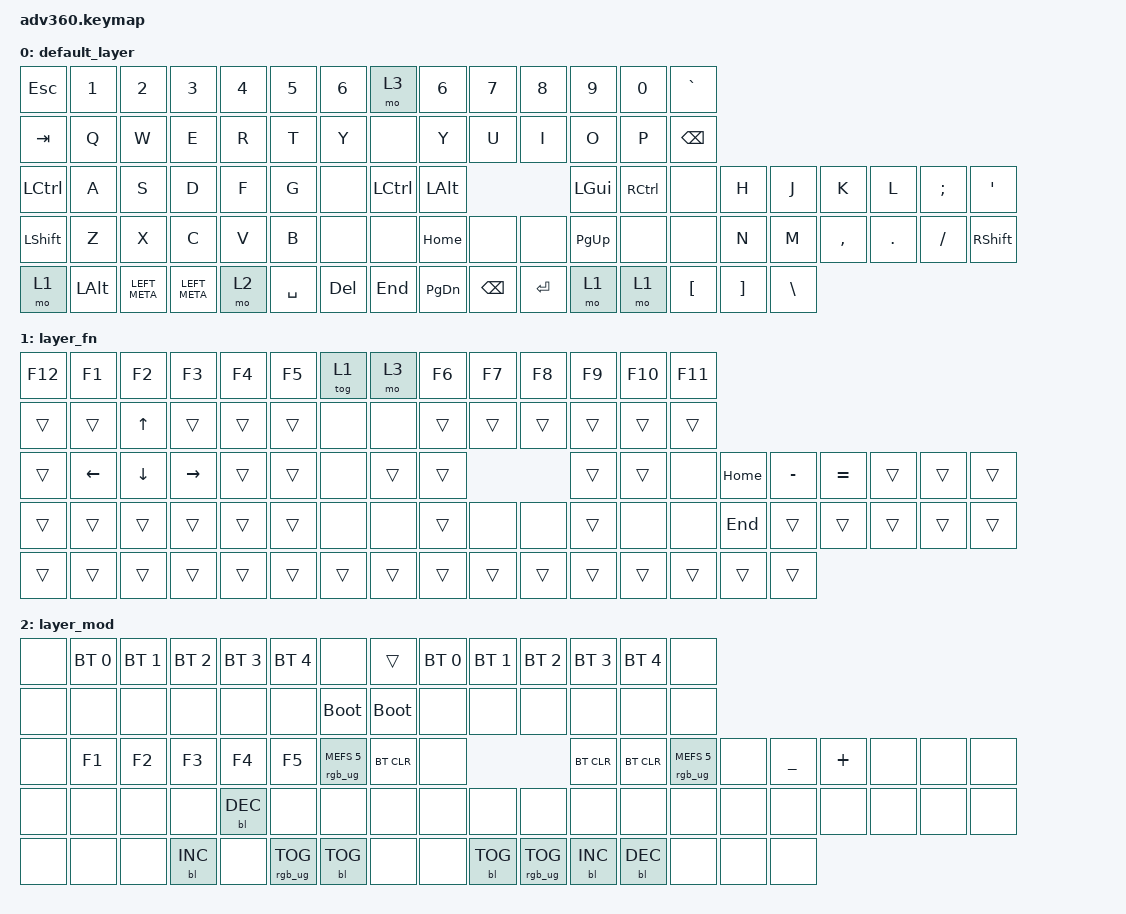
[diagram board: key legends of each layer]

/*
 * Copyright (c) 2020 The ZMK Contributors
 *
 * SPDX-License-Identifier: MIT
 */


/* THIS FILE WAS GENERATED!
 *
 * This file was generated automatically. You may or may not want to
 * edit it directly.
 */

#include <behaviors.dtsi>
#include <dt-bindings/zmk/keys.h>
#include <dt-bindings/zmk/bt.h>
#include <dt-bindings/zmk/rgb.h>
#include <dt-bindings/zmk/backlight.h>

/ {
  behaviors {
    #include "macros.dtsi"

    hm: homerow_mods {
        compatible = "zmk,behavior-hold-tap";
        label = "HOMEROW_MODS";
        #binding-cells = <2>;
        tapping-term-ms = <200>;
        quick_tap_ms = <175>;
        flavor = "tap-preferred";
        bindings = <&kp>, <&kp>;
    };
  };

    keymap {
        compatible = "zmk,keymap";


        default_layer {
            bindings = <
 &kp ESCAPE        &kp N1         &kp N2         &kp N3  &kp N4     &kp N5             &kp N6      &mo 3     &kp N6         &kp N7     &kp N8     &kp N9     &kp N0      &kp GRAVE
    &kp TAB         &kp Q          &kp W          &kp E   &kp R      &kp T              &kp Y      &none      &kp Y          &kp U      &kp I      &kp O      &kp P  &kp BACKSPACE
  &kp LCTRL         &kp A          &kp S          &kp D   &kp F      &kp G              &none  &kp LCTRL   &kp LALT                             &kp LGUI  &kp RCTRL          &none     &kp H          &kp J      &kp K    &kp L  &kp SEMI    &kp SQT
  &kp LSHFT         &kp Z          &kp X          &kp C   &kp V      &kp B              &none      &none   &kp HOME          &none      &none  &kp PG_UP      &none          &none     &kp N          &kp M  &kp COMMA  &kp DOT  &kp FSLH  &kp RSHFT
      &mo 1  &kp LEFT_ALT  &kp LEFT_META  &kp LEFT_META   &mo 2  &kp SPACE            &kp DEL    &kp END  &kp PG_DN  &kp BACKSPACE  &kp ENTER      &mo 1      &mo 1       &kp LBKT  &kp RBKT  &kp BACKSLASH
            >;
        };

        layer_fn {
            bindings = <
 &kp F12          &kp F1          &kp F2           &kp F3  &kp F4  &kp F5            &tog 1   &mo 3  &kp F6  &kp F7  &kp F8  &kp F9  &kp F10  &kp F11
  &trans          &trans    &kp UP_ARROW           &trans  &trans  &trans             &none   &none  &trans  &trans  &trans  &trans   &trans   &trans
  &trans  &kp LEFT_ARROW  &kp DOWN_ARROW  &kp RIGHT_ARROW  &trans  &trans             &none  &trans  &trans                  &trans   &trans    &none  &kp HOME  &kp MINUS  &kp EQUAL  &trans  &trans  &trans
  &trans          &trans          &trans           &trans  &trans  &trans             &none   &none  &trans   &none   &none  &trans    &none    &none   &kp END     &trans     &trans  &trans  &trans  &trans
  &trans          &trans          &trans           &trans  &trans  &trans            &trans  &trans  &trans  &trans  &trans  &trans   &trans   &trans    &trans     &trans
            >;
        };

        layer_mod {
            bindings = <
  &none  &bt BT_SEL 0  &bt BT_SEL 1  &bt BT_SEL 2  &bt BT_SEL 3     &bt BT_SEL 4                             &none       &trans  &bt BT_SEL 0  &bt BT_SEL 1     &bt BT_SEL 2  &bt BT_SEL 3  &bt BT_SEL 4                   &none
  &none         &none         &none         &none         &none            &none                       &bootloader  &bootloader         &none         &none            &none         &none         &none                   &none
  &none        &kp F1        &kp F2        &kp F3        &kp F4           &kp F5            &rgb_ug RGB_MEFS_CMD 5   &bt BT_CLR         &none                                   &bt BT_CLR    &bt BT_CLR  &rgb_ug RGB_MEFS_CMD 5   &none  &kp UNDER  &kp PLUS   &none   &none   &none
  &none         &none         &none         &none    &bl BL_DEC            &none                             &none        &none         &none         &none            &none         &none         &none                   &none   &none      &none     &none   &none   &none   &none
  &none         &none         &none    &bl BL_INC         &none  &rgb_ug RGB_TOG                        &bl BL_TOG        &none         &none    &bl BL_TOG  &rgb_ug RGB_TOG    &bl BL_INC    &bl BL_DEC                   &none   &none      &none
            >;
        };

    };
};
